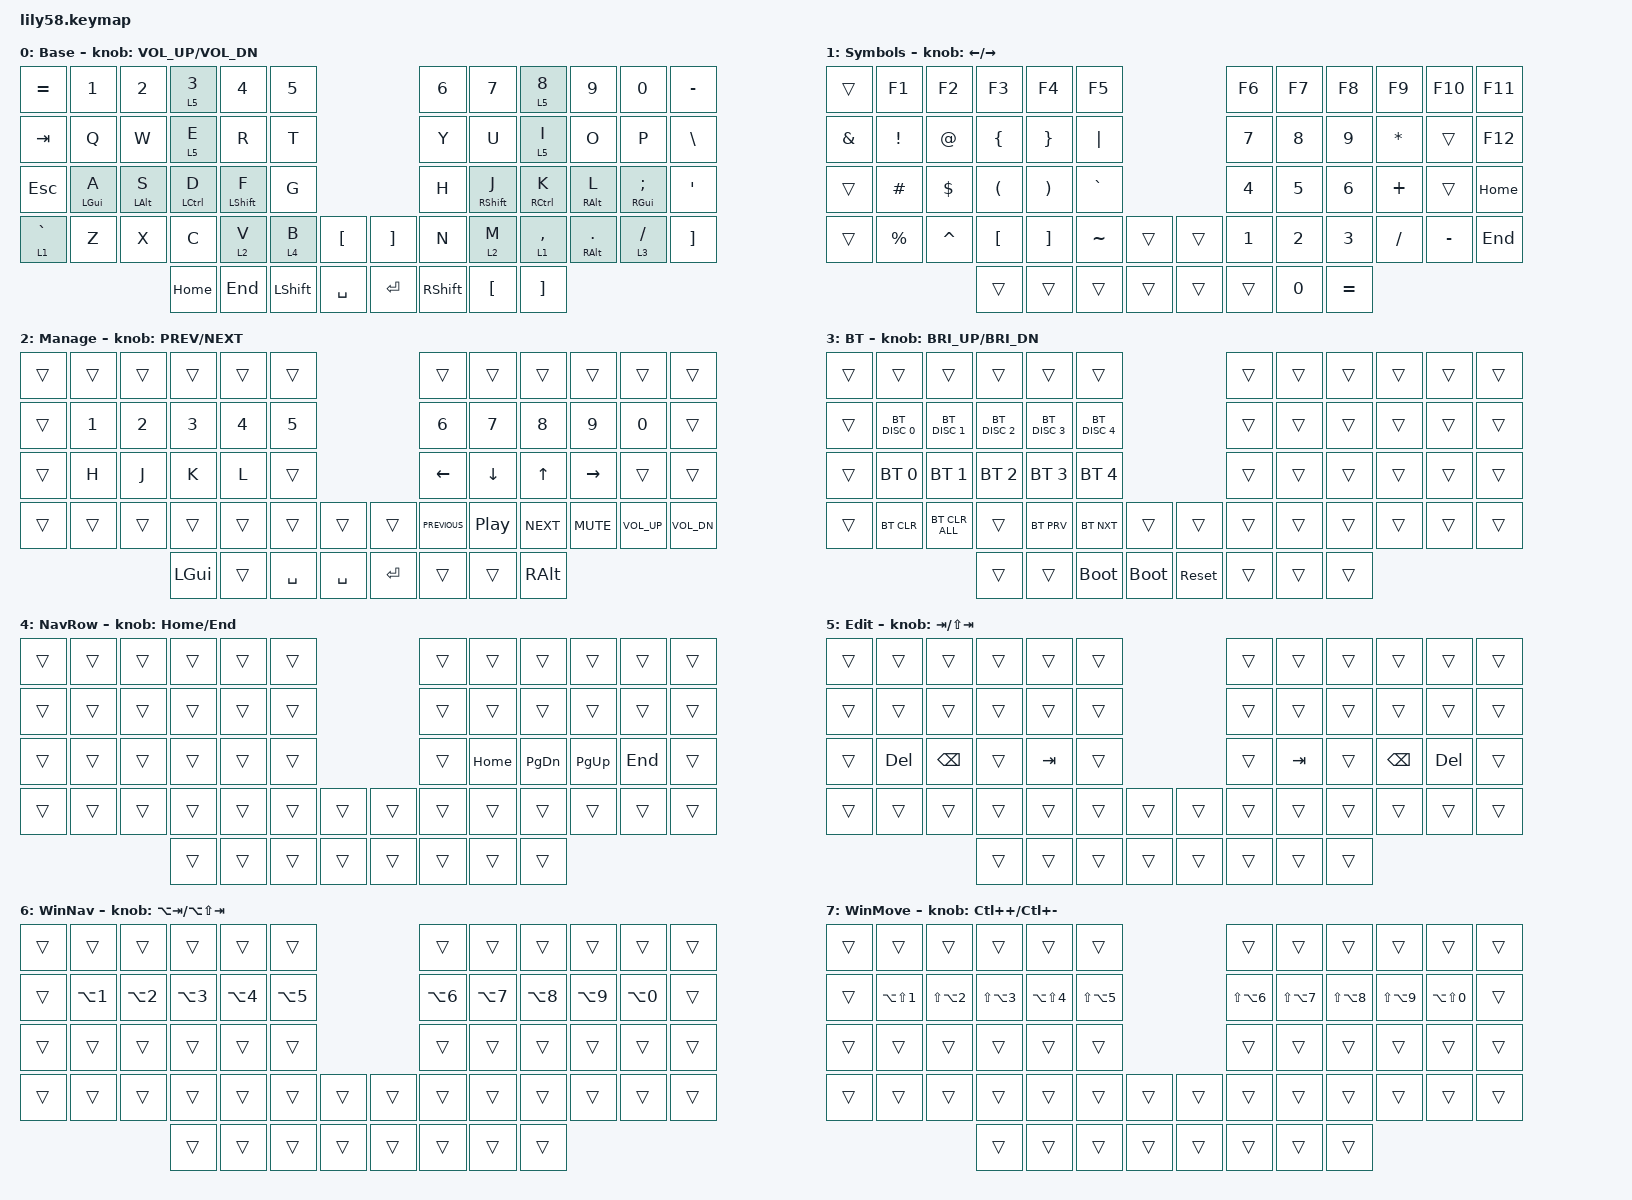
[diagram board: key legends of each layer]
/*
 * Copyright (c) 2020 The ZMK Contributors
 *
 * SPDX-License-Identifier: MIT
 */

#include <behaviors.dtsi>
#include <dt-bindings/zmk/bt.h>
#include <dt-bindings/zmk/keys.h>

// Lily58 key positions for hold-trigger
// Layout positions for Lily58 (58 keys total)
// Left side: 0-28, Right side: 29-57

#define KEYS_L 0 1 2 3 4 5 12 13 14 15 16 17 24 25 26 27 28 29 36 37 38 39 40 41
#define KEYS_R 6 7 8 9 10 11 18 19 20 21 22 23 30 31 32 33 34 35 42 43 44 45 46 47
#define THUMBS 48 49 50 51 52 53 54 55

/ {
    behaviors {
        hml: home_row_mod_left {
            compatible = "zmk,behavior-hold-tap";
            #binding-cells = <2>;
            flavor = "balanced";
            tapping-term-ms = <280>;
            quick-tap-ms = <175>;
            require-prior-idle-ms = <150>;
            bindings = <&kp>, <&kp>;

            hold-trigger-key-positions = <KEYS_R THUMBS>;
            hold-trigger-on-release;
        };

        hmr: home_row_mod_right {
            compatible = "zmk,behavior-hold-tap";
            #binding-cells = <2>;
            flavor = "balanced";
            tapping-term-ms = <280>;
            quick-tap-ms = <175>;
            require-prior-idle-ms = <150>;
            bindings = <&kp>, <&kp>;

            hold-trigger-key-positions = <KEYS_L THUMBS>;
            hold-trigger-on-release;
        };
    };

    combos {
        compatible = "zmk,combos";

        ComboLeftShift {
            bindings = <&kp LEFT_SHIFT>;
            key-positions = <36 37>; // LB0 LB1
            layers = <0>;
        };

        ComboRightShift {
            bindings = <&kp RIGHT_SHIFT>;
            key-positions = <46 47>; // RB4 RB5
            layers = <0>;
        };

        bluetooth-layer {
            bindings = <&mo 3>;
            key-positions = <3 4 5>; // LN3 LN4 LN5 (number row)
            layers = <0>;
        };

        pop_launcher {
            bindings = <&kp RG(SLASH)>;
            key-positions = <53 54>; // LH0 RH0 (inner thumbs)
            layers = <0>;
        };

        scroll_lock {
            bindings = <&kp SCROLLLOCK>;
            key-positions = <43 42>; // LH0 LM5
        };

        LaunchTerminal {
            bindings = <&kp LC(LG(ENTER))>;
            key-positions = <52 55>; // LH1 RH1
        };
    };

    keymap {
        compatible = "zmk,keymap";

        default_layer {
            // ------------------------------------------------------------------------------------------------------------
            // |  ESC  |  1  |  2  |  3   |  4   |  5   |                   |  6   |  7    |  8    |  9   |   0   |   =   |
            // |  TAB  |  Q  |  W  |  E   |  R   |  T   |                   |  Y   |  U    |  I    |  O   |   P   |   \   |
            // | ESC   |  A  |  S  |  D   |  F   |  G   |                   |  H   |  J    |  K    |  L   |   ;   |   '   |
            // | GRAVE |  Z  |  X  |  C   |  V   |  B   |   "["  |  |  "]"  |  N   |  M    |  ,    |  .   |   /   | MINUS |
            //                     | ALT  | LWR  | SPC  |  SPC   |  | ENTER | RSE  | MINUS | GUI   |

            display-name = "Base";
            bindings = <
&kp EQUAL    &kp N1       &kp N2       &lt 5 N3      &kp N4        &kp N5                             &kp N6     &kp N7              &lt 5 N8      &kp N9           &kp N0               &kp MINUS
&kp TAB      &kp Q        &kp W        &lt 5 E       &kp R         &kp T                              &kp Y      &kp U               &lt 5 I       &kp O            &kp P                &kp BACKSLASH
&kp ESCAPE   &hml LGUI A  &hml LALT S  &hml LCTRL D  &hml LSHFT F  &kp G                              &kp H      &hmr RIGHT_SHIFT J  &hmr RCTRL K  &hmr RALT L      &hmr RGUI SEMICOLON  &kp SINGLE_QUOTE
&lt 1 GRAVE  &kp Z        &kp X        &kp C         &lt 2 V       &lt 4 B     &kp LBKT     &kp RBKT  &kp N      &lt 2 M             &lt 1 COMMA   &mt RALT PERIOD  &lt 3 SLASH          &kp RIGHT_BRACKET
                                       &kp HOME      &kp END       &kp LSHIFT  &kp SPACE    &kp RET   &kp RSHFT  &kp LEFT_BRACKET    &kp RBKT
            >;

            sensor-bindings = <&inc_dec_kp C_VOL_UP C_VOL_DN>;
        };

        symbols {
            // Full number row available, so optimize symbol placement

            display-name = "Symbols";
            bindings = <
&trans    &kp F1       &kp F2      &kp F3                &kp F4                 &kp F5                       &kp F6        &kp F7        &kp F8        &kp F9        &kp F10    &kp F11
&kp AMPS  &kp EXCL     &kp AT      &kp LEFT_BRACE        &kp RIGHT_BRACE        &kp PIPE                     &kp N7        &kp N8        &kp N9        &kp ASTERISK  &trans     &kp F12
&trans    &kp HASH     &kp DOLLAR  &kp LEFT_PARENTHESIS  &kp RIGHT_PARENTHESIS  &kp GRAVE                    &kp NUMBER_4  &kp N5        &kp NUMBER_6  &kp PLUS      &trans     &kp HOME
&trans    &kp PERCENT  &kp CARET   &kp LEFT_BRACKET      &kp RIGHT_BRACKET      &kp TILDE  &trans    &trans  &kp NUMBER_1  &kp NUMBER_2  &kp NUMBER_3  &kp SLASH     &kp MINUS  &kp END
                                   &trans                &trans                 &trans     &trans    &trans  &trans        &kp N0        &kp EQUAL
            >;

            sensor-bindings = <&inc_dec_kp LEFT RIGHT>;
        };

        management {
            // Navigation and media controls

            display-name = "Manage";
            bindings = <
&trans  &trans  &trans  &trans    &trans  &trans                           &trans          &trans            &trans      &trans      &trans           &trans
&trans  &kp N1  &kp N2  &kp N3    &kp N4  &kp N5                           &kp N6          &kp N7            &kp N8      &kp N9      &kp N0           &trans
&trans  &kp H   &kp J   &kp K     &kp L   &trans                           &kp LEFT        &kp DOWN          &kp UP      &kp RIGHT   &trans           &trans
&trans  &trans  &trans  &trans    &trans  &trans     &trans       &trans   &kp C_PREVIOUS  &kp C_PLAY_PAUSE  &kp C_NEXT  &kp C_MUTE  &kp C_VOLUME_UP  &kp C_VOL_DN
                        &kp LGUI  &trans  &kp SPACE  &kp SPACE    &kp RET  &trans          &trans            &kp RALT
            >;

            sensor-bindings = <&inc_dec_kp C_PREV C_NEXT>;
        };

        bluetooth {
            display-name = "BT";
            bindings = <
&trans  &trans         &trans          &trans         &trans         &trans                                    &trans  &trans  &trans  &trans  &trans  &trans
&trans  &bt BT_DISC 0  &bt BT_DISC 1   &bt BT_DISC 2  &bt BT_DISC 3  &bt BT_DISC 4                             &trans  &trans  &trans  &trans  &trans  &trans
&trans  &bt BT_SEL 0   &bt BT_SEL 1    &bt BT_SEL 2   &bt BT_SEL 3   &bt BT_SEL 4                              &trans  &trans  &trans  &trans  &trans  &trans
&trans  &bt BT_CLR     &bt BT_CLR_ALL  &trans         &bt BT_PRV     &bt BT_NXT     &trans         &trans      &trans  &trans  &trans  &trans  &trans  &trans
                                       &trans         &trans         &bootloader    &bootloader    &sys_reset  &trans  &trans  &trans
            >;

            sensor-bindings = <&inc_dec_kp C_BRI_UP C_BRI_DN>;
        };

        HomeRowNavigation {
            display-name = "NavRow";
            bindings = <
&trans  &trans  &trans  &trans  &trans  &trans                    &trans  &trans    &trans         &trans       &trans   &trans
&trans  &trans  &trans  &trans  &trans  &trans                    &trans  &trans    &trans         &trans       &trans   &trans
&trans  &trans  &trans  &trans  &trans  &trans                    &trans  &kp HOME  &kp PAGE_DOWN  &kp PAGE_UP  &kp END  &trans
&trans  &trans  &trans  &trans  &trans  &trans  &trans    &trans  &trans  &trans    &trans         &trans       &trans   &trans
                        &trans  &trans  &trans  &trans    &trans  &trans  &trans    &trans
            >;

            sensor-bindings = <&inc_dec_kp HOME END>;
        };

        Mutation {
            display-name = "Edit";
            bindings = <
&trans  &trans      &trans         &trans  &trans   &trans                    &trans  &trans   &trans  &trans         &trans      &trans
&trans  &trans      &trans         &trans  &trans   &trans                    &trans  &trans   &trans  &trans         &trans      &trans
&trans  &kp DELETE  &kp BACKSPACE  &trans  &kp TAB  &trans                    &trans  &kp TAB  &trans  &kp BACKSPACE  &kp DELETE  &trans
&trans  &trans      &trans         &trans  &trans   &trans  &trans    &trans  &trans  &trans   &trans  &trans         &trans      &trans
                                   &trans  &trans   &trans  &trans    &trans  &trans  &trans   &trans
            >;

            sensor-bindings = <&inc_dec_kp TAB LS(TAB)>;
        };

        WindowNav {
            display-name = "WinNav";
            bindings = <
&trans  &trans      &trans      &trans      &trans      &trans                        &trans      &trans      &trans      &trans      &trans      &trans
&trans  &kp LA(N1)  &kp LA(N2)  &kp LA(N3)  &kp LA(N4)  &kp LA(N5)                    &kp LA(N6)  &kp LA(N7)  &kp LA(N8)  &kp LA(N9)  &kp LA(N0)  &trans
&trans  &trans      &trans      &trans      &trans      &trans                        &trans      &trans      &trans      &trans      &trans      &trans
&trans  &trans      &trans      &trans      &trans      &trans      &trans    &trans  &trans      &trans      &trans      &trans      &trans      &trans
                                &trans      &trans      &trans      &trans    &trans  &trans      &trans      &trans
            >;

            sensor-bindings = <&inc_dec_kp LA(TAB) LA(LS(TAB))>;
        };

        WindowMove {
            display-name = "WinMove";
            bindings = <
&trans  &trans          &trans          &trans          &trans          &trans                            &trans          &trans          &trans          &trans          &trans          &trans
&trans  &kp LA(LS(N1))  &kp LS(LA(N2))  &kp LS(LA(N3))  &kp LA(LS(N4))  &kp LS(LA(N5))                    &kp LS(LA(N6))  &kp LS(LA(N7))  &kp LS(LA(N8))  &kp LS(LA(N9))  &kp LA(LS(N0))  &trans
&trans  &trans          &trans          &trans          &trans          &trans                            &trans          &trans          &trans          &trans          &trans          &trans
&trans  &trans          &trans          &trans          &trans          &trans          &trans    &trans  &trans          &trans          &trans          &trans          &trans          &trans
                                        &trans          &trans          &trans          &trans    &trans  &trans          &trans          &trans
            >;

            sensor-bindings = <&inc_dec_kp LC(PLUS) LC(MINUS)>;
        };
    };
};
